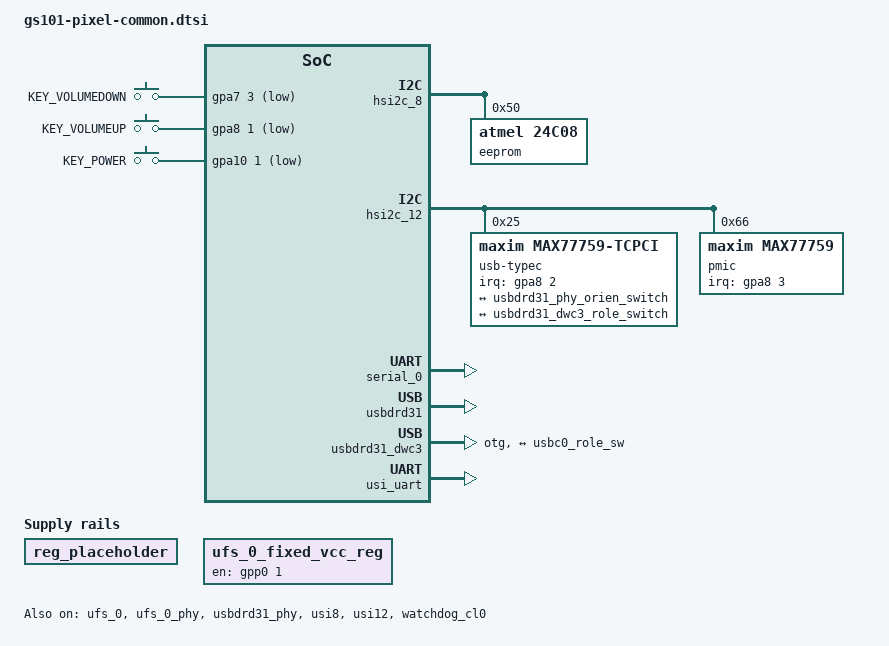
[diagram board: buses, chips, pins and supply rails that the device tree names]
// SPDX-License-Identifier: GPL-2.0-only
/*
 * Device Tree nodes common for all GS101-based Pixel
 *
 * Copyright 2021-2023 Google LLC
 * Copyright 2023 Linaro Ltd - <peter.griffin@linaro.org>
 */

/dts-v1/;

#include <dt-bindings/gpio/gpio.h>
#include <dt-bindings/input/input.h>
#include <dt-bindings/regulator/samsung,s2mpg10-regulator.h>
#include <dt-bindings/usb/pd.h>
#include "gs101-pinctrl.h"
#include "gs101.dtsi"

/ {
	aliases {
		serial0 = &serial_0;
	};

	chosen {
		/* Bootloader expects bootargs specified otherwise it crashes */
		bootargs = "";
		stdout-path = &serial_0;

		/* Use display framebuffer as setup by bootloader */
		framebuffer0: framebuffer-0 {
			compatible = "simple-framebuffer";
			memory-region = <&cont_splash_mem>;
			vci-supply = <&s2mpg10_ldo22m>;
			vddi-supply = <&s2mpg11_bucka>;
			/* format properties to be added by actual board */
			status = "disabled";
		};
	};

	gpio-keys {
		compatible = "gpio-keys";
		pinctrl-0 = <&key_voldown>, <&key_volup>, <&key_power>;
		pinctrl-names = "default";

		button-vol-down {
			label = "KEY_VOLUMEDOWN";
			linux,code = <KEY_VOLUMEDOWN>;
			gpios = <&gpa7 3 GPIO_ACTIVE_LOW>;
			wakeup-source;
		};

		button-vol-up {
			label = "KEY_VOLUMEUP";
			linux,code = <KEY_VOLUMEUP>;
			gpios = <&gpa8 1 GPIO_ACTIVE_LOW>;
			wakeup-source;
		};

		button-power {
			label = "KEY_POWER";
			linux,code = <KEY_POWER>;
			gpios = <&gpa10 1 GPIO_ACTIVE_LOW>;
			wakeup-source;
		};
	};

	reboot-mode {
		compatible = "nvmem-reboot-mode";
		nvmem-cells = <&nvmem_reboot_mode>;
		nvmem-cell-names = "reboot-mode";
		mode-bootloader = <0x800000fc>;
		mode-charge = <0x8000000a>;
		mode-dm-verity-device-corrupted = <0x80000050>;
		mode-fastboot = <0x800000fa>;
		mode-reboot-ab-update = <0x80000052>;
		mode-recovery = <0x800000ff>;
		mode-rescue = <0x800000f9>;
		mode-shutdown-thermal = <0x80000051>;
		mode-shutdown-thermal-battery = <0x80000051>;
	};

	/* TODO: Remove this once PMIC is implemented  */
	reg_placeholder: regulator-0 {
		compatible = "regulator-fixed";
		regulator-name = "placeholder_reg";
	};

	/* TODO: Remove this once S2MPG11 slave PMIC is implemented  */
	ufs_0_fixed_vcc_reg: regulator-1 {
		compatible = "regulator-fixed";
		regulator-name = "ufs-vcc";
		gpio = <&gpp0 1 GPIO_ACTIVE_HIGH>;
		regulator-boot-on;
		enable-active-high;
	};

	reserved-memory {
		cont_splash_mem: splash@fac00000 {
			/* size to be updated by actual board */
			reg = <0x0 0xfac00000 0x0>;
			no-map;
			status = "disabled";
		};
	};
};

&acpm_ipc {
	pmic-1 {
		compatible = "samsung,s2mpg10-pmic";
		interrupts-extended = <&gpa0 6 IRQ_TYPE_LEVEL_LOW>;
		pinctrl-names = "default";
		pinctrl-0 = <&pmic_int>;
		system-power-controller;
		wakeup-source;

		vinl1m-supply = <&s2mpg11_buck3s>;
		vinl2m-supply = <&s2mpg11_buck3s>;
		vinl3m-supply = <&s2mpg10_buck8m>;
		vinl4m-supply = <&s2mpg10_buck9m>;
		vinl5m-supply = <&s2mpg10_buck9m>;
		vinl6m-supply = <&s2mpg10_buck9m>;
		vinl7m-supply = <&s2mpg11_buck6s>;
		vinl8m-supply = <&s2mpg11_buck6s>;
		vinl9m-supply = <&s2mpg11_buck7s>;
		vinl10m-supply = <&s2mpg11_buck7s>;
		vinl11m-supply = <&s2mpg11_buck7s>;
		vinl12m-supply = <&s2mpg11_bucka>;
		vinl13m-supply = <&s2mpg11_bucka>;
		vinl14m-supply = <&s2mpg11_buckboost>;
		vinl15m-supply = <&s2mpg11_buckboost>;

		clocks {
			compatible = "samsung,s2mpg10-clk";
			#clock-cells = <1>;
			clock-output-names = "rtc32k_ap", "peri32k1",
					     "peri32k2";
		};

		regulators {
			buck1m {
				regulator-name = "vdd_mif";
				regulator-min-microvolt = <450000>;
				regulator-max-microvolt = <1300000>;
				regulator-ramp-delay = <6250>;
				regulator-always-on;
				samsung,ext-control = <S2MPG10_EXTCTRL_PWREN_MIF>;
			};

			buck2m {
				regulator-name = "vdd_cpucl2";
				regulator-min-microvolt = <450000>;
				regulator-max-microvolt = <1300000>;
				regulator-ramp-delay = <12500>;
				regulator-always-on;
				samsung,ext-control = <S2MPG10_EXTCTRL_CPUCL2_EN2>;
			};

			buck3m {
				regulator-name = "vdd_cpucl1";
				regulator-min-microvolt = <450000>;
				regulator-max-microvolt = <1300000>;
				regulator-ramp-delay = <12500>;
				regulator-always-on;
				samsung,ext-control = <S2MPG10_EXTCTRL_CPUCL1_EN2>;
			};

			buck4m {
				regulator-name = "vdd_cpucl0";
				regulator-min-microvolt = <450000>;
				regulator-max-microvolt = <1300000>;
				regulator-ramp-delay = <12500>;
				regulator-always-on;
				samsung,ext-control = <S2MPG10_EXTCTRL_PWREN>;
			};

			buck5m {
				regulator-name = "vdd_int";
				regulator-min-microvolt = <450000>;
				regulator-max-microvolt = <1300000>;
				regulator-ramp-delay = <12500>;
				regulator-always-on;
				samsung,ext-control = <S2MPG10_EXTCTRL_PWREN_MIF>;
			};

			buck6m {
				regulator-name = "vdd_cpucl2_m";
				regulator-min-microvolt = <450000>;
				regulator-max-microvolt = <1350000>;
				regulator-ramp-delay = <12500>;
				regulator-always-on;
				samsung,ext-control = <S2MPG10_EXTCTRL_CPUCL2_EN2>;
			};

			buck7m {
				/* GPU */
				regulator-name = "vdd_int_m";
				regulator-min-microvolt = <450000>;
				regulator-max-microvolt = <1300000>;
				regulator-ramp-delay = <6250>;
				regulator-always-on;
				samsung,ext-control = <S2MPG10_EXTCTRL_PWREN_MIF>;
			};

			s2mpg10_buck8m: buck8m {
				regulator-name = "lldo2";
				regulator-min-microvolt = <450000>;
				regulator-max-microvolt = <1300000>;
				regulator-ramp-delay = <6250>;
			};

			s2mpg10_buck9m: buck9m {
				regulator-name = "lldo3";
				regulator-min-microvolt = <450000>;
				regulator-max-microvolt = <1300000>;
				regulator-ramp-delay = <6250>;
			};

			buck10m {
				regulator-name = "vdd_tpu";
				regulator-min-microvolt = <450000>;
				regulator-max-microvolt = <1300000>;
				regulator-ramp-delay = <12500>;
				regulator-always-on;
				samsung,ext-control = <S2MPG10_EXTCTRL_TPU_EN>;
			};

			ldo1m {
				/* ALIVE, AOC PLL */
				regulator-name = "vdd_l1m_alive";
				regulator-min-microvolt = <700000>;
				regulator-max-microvolt = <1300000>;
				regulator-ramp-delay = <6250>;
				regulator-always-on;
			};

			ldo2m {
				/* lots, DDR */
				regulator-name = "vdd_l2m_alive";
				regulator-min-microvolt = <1600000>;
				regulator-max-microvolt = <1950000>;
				regulator-always-on;
			};

			ldo3m {
				/* AVDD: MIPI CSI & DSI, PLL: CPUCL SHARED TPU UFS */
				regulator-name = "ldo3m";
				regulator-min-microvolt = <725000>;
				regulator-max-microvolt = <1300000>;
				regulator-always-on;
				samsung,ext-control = <S2MPG10_EXTCTRL_PWREN_MIF>;
			};

			ldo4m {
				/* AVDD: MIPI CSI & DSI, UFS, OTP, TS_SUB, TS_TOP, XOTP */
				regulator-name = "ldo4m";
				regulator-min-microvolt = <1600000>;
				regulator-max-microvolt = <1950000>;
				regulator-always-on;
				samsung,ext-control = <S2MPG10_EXTCTRL_PWREN_MIF>;
			};

			ldo5m {
				/* VDD: ADD, AVDD: TCXO & TCXO_FAR */
				regulator-name = "avdd075_tcxo";
				regulator-min-microvolt = <725000>;
				regulator-max-microvolt = <1300000>;
				regulator-always-on;
				samsung,ext-control = <S2MPG10_EXTCTRL_TCXO_ON>;
			};

			ldo6m {
				/* PLL CPUCL & MIFx, UFS clk, MIPI DSI */
				regulator-name = "vdd_pll";
				regulator-min-microvolt = <725000>;
				regulator-max-microvolt = <1300000>;
				regulator-always-on;
				samsung,ext-control = <S2MPG10_EXTCTRL_PWREN_MIF>;
			};

			ldo7m {
				/* IO (HSI (USB)) */
				regulator-name = "vdd_hsi";
				regulator-min-microvolt = <450000>;
				regulator-max-microvolt = <950000>;
				regulator-ramp-delay = <6250>;
				/*
				 * TODO: link to HSI power domain, without this,
				 * Linux hangs during USB access.
				 */
				regulator-always-on;
			};

			ldo8m {
				regulator-name = "vdd085_usb";
				regulator-min-microvolt = <725000>;
				regulator-max-microvolt = <1300000>;
				regulator-always-on;
			};

			ldo9m {
				regulator-name = "vdd18_usb";
				regulator-min-microvolt = <1600000>;
				regulator-max-microvolt = <1950000>;
				regulator-always-on;
			};

			ldo10m {
				regulator-name = "vdd33_usb";
				regulator-min-microvolt = <1800000>;
				regulator-max-microvolt = <3350000>;
				regulator-always-on;
			};

			ldo11m {
				regulator-name = "vdd_cpucl1_m";
				regulator-min-microvolt = <700000>;
				regulator-max-microvolt = <1300000>;
				regulator-ramp-delay = <6250>;
				regulator-always-on;
				samsung,ext-control = <S2MPG10_EXTCTRL_CPUCL1_EN2>;
			};

			ldo12m {
				regulator-name = "vdd_cpucl0_m";
				regulator-min-microvolt = <700000>;
				regulator-max-microvolt = <1300000>;
				regulator-ramp-delay = <6250>;
				regulator-always-on;
				samsung,ext-control = <S2MPG10_EXTCTRL_PWREN>;
			};

			ldo13m {
				regulator-name = "vdd_tpu_m";
				regulator-min-microvolt = <450000>;
				regulator-max-microvolt = <950000>;
				regulator-ramp-delay = <12500>;
				regulator-always-on;
				samsung,ext-control = <S2MPG10_EXTCTRL_TPU_EN>;
			};

			/* ldo14m is board specific */

			ldo15m {
				regulator-name = "vdd_slc_m";
				regulator-min-microvolt = <450000>;
				regulator-max-microvolt = <950000>;
				regulator-ramp-delay = <12500>;
				regulator-always-on;
			};

			ldo16m {
				regulator-name = "vdd085_pcie0";
				regulator-min-microvolt = <725000>;
				regulator-max-microvolt = <1300000>;
			};

			ldo17m {
				regulator-name = "vdd085_pcie1";
				regulator-min-microvolt = <725000>;
				regulator-max-microvolt = <1300000>;
			};

			ldo18m {
				regulator-name = "vdd18_pcie0";
				regulator-min-microvolt = <1600000>;
				regulator-max-microvolt = <1950000>;
			};

			ldo19m {
				regulator-name = "vdd18_pcie1";
				regulator-min-microvolt = <1600000>;
				regulator-max-microvolt = <1950000>;
			};

			ldo20m {
				/* DMIC, memory power */
				regulator-name = "vddq_aoc_pdm";
				regulator-min-microvolt = <1600000>;
				regulator-max-microvolt = <1950000>;
				regulator-always-on;
				samsung,ext-control = <S2MPG10_EXTCTRL_LDO20M_EN2>;
			};

			ldo21m {
				/* Dauntless  */
				regulator-name = "vdd_dtls";
				regulator-min-microvolt = <2500000>;
				regulator-max-microvolt = <3300000>;
				regulator-always-on;
			};

			s2mpg10_ldo22m: ldo22m {
				/* display */
				regulator-name = "vci_disp";
				regulator-min-microvolt = <3025000>;
				regulator-max-microvolt = <3025000>;
			};

			/* ldo23m & ldo24m are unused */

			ldo25m {
				/* touch */
				regulator-name = "dvdd_tsp";
				regulator-min-microvolt = <1600000>;
				regulator-max-microvolt = <1950000>;
			};

			ldo26m {
				/* touch */
				regulator-name = "avdd_ts";
				regulator-min-microvolt = <2500000>;
				regulator-max-microvolt = <3300000>;
			};

			ldo27m {
				/* under-display fingerprint scanner */
				regulator-name = "avdd_udfps";
				regulator-min-microvolt = <2500000>;
				regulator-max-microvolt = <3300000>;
			};

			/*
			 *ldo28m .. ldo30m are unused, ldo31m is board specific
			 */
		};
	};

	pmic-2 {
		compatible = "samsung,s2mpg11-pmic";
		interrupts-extended = <&gpa0 7 IRQ_TYPE_LEVEL_LOW>;
		pinctrl-names = "default";
		pinctrl-0 = <&sub_pmic_int>;
		wakeup-source;

		vinl1s-supply = <&s2mpg10_buck8m>;
		vinl2s-supply = <&s2mpg11_buck6s>;
		vinl3s-supply = <&s2mpg11_buck7s>;
		vinl4s-supply = <&s2mpg11_buck7s>;
		vinl5s-supply = <&s2mpg11_buckboost>;
		vinl6s-supply = <&s2mpg11_buckboost>;
		vinbd-supply = <&s2mpg11_buckboost>;

		regulators {
			buck1s {
				/* multimedia */
				regulator-name = "vdd_cam";
				regulator-min-microvolt = <450000>;
				regulator-max-microvolt = <1300000>;
				regulator-ramp-delay = <12500>;
				regulator-always-on;
				samsung,ext-control = <S2MPG11_EXTCTRL_PWREN_MIF>;
			};

			buck2s {
				regulator-name = "vdd_g3d";
				regulator-min-microvolt = <450000>;
				regulator-max-microvolt = <1300000>;
				regulator-ramp-delay = <12500>;
				regulator-always-on;
				samsung,ext-control = <S2MPG11_EXTCTRL_G3D_EN>;
			};

			s2mpg11_buck3s: buck3s {
				regulator-name = "lldo1";
				regulator-min-microvolt = <450000>;
				regulator-max-microvolt = <1300000>;
				regulator-ramp-delay = <6250>;
			};

			buck4s {
				/* DDR */
				regulator-name = "vdd2h_mem";
				regulator-min-microvolt = <450000>;
				regulator-max-microvolt = <1300000>;
				regulator-ramp-delay = <6250>;
				regulator-always-on;
			};

			buck5s {
				/* DDR */
				regulator-name = "vddq_mem";
				regulator-min-microvolt = <400000>;
				regulator-max-microvolt = <1300000>;
				regulator-ramp-delay = <6250>;
				regulator-always-on;
				samsung,ext-control = <S2MPG11_EXTCTRL_PWREN_MIF>;
			};

			s2mpg11_buck6s: buck6s {
				regulator-name = "lldo4";
				regulator-min-microvolt = <1000000>;
				regulator-max-microvolt = <1500000>;
				regulator-ramp-delay = <6250>;
			};

			s2mpg11_buck7s: buck7s {
				regulator-name = "mldo";
				regulator-min-microvolt = <1500000>;
				regulator-max-microvolt = <2200000>;
				regulator-ramp-delay = <6250>;
			};

			buck8s {
				regulator-name = "vdd_g3d_l2";
				regulator-min-microvolt = <450000>;
				regulator-max-microvolt = <1300000>;
				regulator-ramp-delay = <12500>;
				regulator-always-on;
				samsung,ext-control = <S2MPG11_EXTCTRL_G3D_EN>;
			};

			buck9s {
				regulator-name = "vdd_aoc";
				regulator-min-microvolt = <450000>;
				regulator-max-microvolt = <1300000>;
				regulator-ramp-delay = <12500>;
				regulator-always-on;
			};

			buck10s {
				/* DDR */
				regulator-name = "vdd2l_mem";
				regulator-min-microvolt = <450000>;
				regulator-max-microvolt = <1300000>;
				regulator-ramp-delay = <6250>;
				regulator-always-on;
			};

			buckd {
				regulator-name = "vcc_ufs";
				regulator-min-microvolt = <2400000>;
				regulator-max-microvolt = <3300000>;
				regulator-ramp-delay = <6250>;
				regulator-always-on;
				samsung,ext-control = <S2MPG11_EXTCTRL_UFS_EN>;
			};

			s2mpg11_bucka: bucka {
				/* lots, IO */
				regulator-name = "bucka";
				regulator-min-microvolt = <1700000>;
				regulator-max-microvolt = <2100000>;
				regulator-ramp-delay = <6250>;
				regulator-always-on;
			};

			s2mpg11_buckboost: buckboost {
				regulator-name = "buckboost";
				regulator-min-microvolt = <3000000>;
				regulator-max-microvolt = <3600000>;
			};

			ldo1s {
				regulator-name = "vdd_g3d_m";
				regulator-min-microvolt = <450000>;
				regulator-max-microvolt = <950000>;
				regulator-ramp-delay = <6250>;
				regulator-always-on;
				samsung,ext-control = <S2MPG11_EXTCTRL_G3D_EN>;
			};

			ldo2s {
				regulator-name = "vdd_aoc_ret";
				regulator-min-microvolt = <450000>;
				regulator-max-microvolt = <950000>;
				regulator-ramp-delay = <12500>;
				regulator-always-on;
			};

			/* ldo3s & ldo5s are unused, ldo4s is board specific */

			ldo6s {
				/* sensors */
				regulator-name = "vdd_prox";
				regulator-min-microvolt = <2500000>;
				regulator-max-microvolt = <3300000>;
			};

			ldo7s {
				/* sensors */
				regulator-name = "vdd_sensors";
				regulator-min-microvolt = <1600000>;
				regulator-max-microvolt = <1950000>;
			};

			ldo8s {
				regulator-name = "vccq_ufs";
				regulator-min-microvolt = <1130400>;
				regulator-max-microvolt = <1281200>;
				regulator-always-on;
				samsung,ext-control = <S2MPG11_EXTCTRL_UFS_EN>;
			};

			ldo9s {
				regulator-name = "vdd_gnss";
				regulator-min-microvolt = <725000>;
				regulator-max-microvolt = <1300000>;
			};

			ldo10s {
				regulator-name = "vdd_gnss_rf";
				regulator-min-microvolt = <1600000>;
				regulator-max-microvolt = <1950000>;
			};

			ldo11s {
				regulator-name = "vdd_gnss_aux";
				regulator-min-microvolt = <1600000>;
				regulator-max-microvolt = <1950000>;
			};

			/* ldo12s is unused */

			ldo13s {
				regulator-name = "vddq_mmc";
				regulator-min-microvolt = <1800000>;
				regulator-max-microvolt = <3350000>;
				regulator-always-on;
				samsung,ext-control = <S2MPG11_EXTCTRL_LDO13S_EN>;
			};

			/* ldo14s is board specific, ldo15s is unused */
		};
	};
};

&ext_24_5m {
	clock-frequency = <24576000>;
};

&ext_200m {
	clock-frequency = <200000000>;
};

&hsi2c_8 {
	status = "okay";

	eeprom: eeprom@50 {
		compatible = "atmel,24c08";
		reg = <0x50>;
	};
};

&hsi2c_12 {
	status = "okay";
	/* TODO: add the devices once drivers exist */

	usb-typec@25 {
		compatible = "maxim,max77759-tcpci", "maxim,max33359";
		reg = <0x25>;
		interrupts-extended = <&gpa8 2 IRQ_TYPE_LEVEL_LOW>;
		pinctrl-0 = <&typec_int>;
		pinctrl-names = "default";

		connector {
			compatible = "usb-c-connector";
			label = "USB-C";
			data-role = "dual";
			power-role = "dual";
			self-powered;
			try-power-role = "sink";
			op-sink-microwatt = <2600000>;
			slow-charger-loop;
			/*
			 * max77759 operating in reverse boost mode (0xA) can
			 * source up to 1.5A while extboost can only do ~1A.
			 * Since extboost is the primary path, advertise 900mA.
			 */
			source-pdos = <PDO_FIXED(5000, 900,
						 (PDO_FIXED_SUSPEND
						  | PDO_FIXED_USB_COMM
						  | PDO_FIXED_DATA_SWAP
						  | PDO_FIXED_DUAL_ROLE))>;
			sink-pdos = <PDO_FIXED(5000, 3000,
					       (PDO_FIXED_DATA_SWAP
						| PDO_FIXED_USB_COMM
						| PDO_FIXED_HIGHER_CAP
						| PDO_FIXED_DUAL_ROLE))
				     PDO_FIXED(9000, 2200, 0)
				     PDO_PPS_APDO(5000, 11000, 3000)>;
			sink-vdos = <VDO_IDH(1, 1, IDH_PTYPE_PERIPH, 0,
					     IDH_PTYPE_DFP_HOST, 2, 0x18d1)
				     VDO_CERT(0x0)
				     VDO_PRODUCT(0x4ee1, 0x0)
				     VDO_UFP(UFP_VDO_VER1_2,
					     (DEV_USB2_CAPABLE
					      | DEV_USB3_CAPABLE),
					     UFP_RECEPTACLE, 0,
					     AMA_VCONN_NOT_REQ, 0,
					     UFP_ALTMODE_NOT_SUPP,
					     UFP_USB32_GEN1)
				     /* padding */ 0
				     VDO_DFP(DFP_VDO_VER1_1,
					     (HOST_USB2_CAPABLE
					      | HOST_USB3_CAPABLE),
					     DFP_RECEPTACLE, 0)>;
			sink-vdos-v1 = <VDO_IDH(1, 1, IDH_PTYPE_PERIPH, 0,
						0, 0, 0x18d1)
					VDO_CERT(0x0)
					VDO_PRODUCT(0x4ee1, 0x0)>;
			/*
			 * Until bootloader is updated to set those two when
			 * console is enabled, we disable PD here.
			 */
			pd-disable;
			typec-power-opmode = "default";

			ports {
				#address-cells = <1>;
				#size-cells = <0>;

				port@0 {
					reg = <0>;

					usbc0_orien_sw: endpoint {
						remote-endpoint = <&usbdrd31_phy_orien_switch>;
					};
				};

				port@1 {
					reg = <1>;

					usbc0_role_sw: endpoint {
						remote-endpoint = <&usbdrd31_dwc3_role_switch>;
					};
				};
			};
		};
	};

	pmic@66 {
		compatible = "maxim,max77759";
		reg = <0x66>;

		pinctrl-0 = <&if_pmic_int>;
		pinctrl-names = "default";
		interrupts-extended = <&gpa8 3 IRQ_TYPE_LEVEL_LOW>;

		interrupt-controller;
		#interrupt-cells = <2>;

		gpio {
			compatible = "maxim,max77759-gpio";

			gpio-controller;
			#gpio-cells = <2>;
			/*
			 * "Human-readable name [SIGNAL_LABEL]" where the
			 * latter comes from the schematic
			 */
			gpio-line-names = "OTG boost [OTG_BOOST_EN]",
					  "max20339 IRQ [MW_OVP_INT_L]";

			interrupt-controller;
			#interrupt-cells = <2>;
		};

		nvmem-0 {
			compatible = "maxim,max77759-nvmem";

			nvmem-layout {
				compatible = "fixed-layout";
				#address-cells = <1>;
				#size-cells = <1>;

				nvmem_reboot_mode: reboot-mode@0 {
					reg = <0x0 0x4>;
				};

				boot-reason@4 {
					reg = <0x4 0x4>;
				};

				shutdown-user-flag@8 {
					reg = <0x8 0x1>;
				};

				rsoc@a {
					reg = <0xa 0x2>;
				};
			};
		};
	};
};

&pinctrl_far_alive {
	key_voldown: key-voldown-pins {
		samsung,pins = "gpa7-3";
		samsung,pin-function = <GS101_PIN_FUNC_EINT>;
		samsung,pin-pud = <GS101_PIN_PULL_NONE>;
		samsung,pin-drv = <GS101_PIN_DRV_2_5_MA>;
	};

	key_volup: key-volup-pins {
		samsung,pins = "gpa8-1";
		samsung,pin-function = <GS101_PIN_FUNC_EINT>;
		samsung,pin-pud = <GS101_PIN_PULL_NONE>;
		samsung,pin-drv = <GS101_PIN_DRV_2_5_MA>;
	};

	typec_int: typec-int-pins {
		samsung,pins = "gpa8-2";
		samsung,pin-function = <GS101_PIN_FUNC_EINT>;
		samsung,pin-pud = <GS101_PIN_PULL_UP>;
		samsung,pin-drv = <GS101_PIN_DRV_2_5_MA>;
	};

	if_pmic_int: if-pmic-int-pins {
		samsung,pins = "gpa8-3";
		samsung,pin-function = <GS101_PIN_FUNC_EINT>;
		samsung,pin-pud = <GS101_PIN_PULL_UP>;
		samsung,pin-drv = <GS101_PIN_DRV_2_5_MA>;
	};
};

&pinctrl_gpio_alive {
	pmic_int: pmic-int-pins {
		samsung,pins = "gpa0-6";
		samsung,pin-function = <GS101_PIN_FUNC_EINT>;
		samsung,pin-pud = <GS101_PIN_PULL_NONE>;
	};

	sub_pmic_int: sub-pmic-int-pins {
		samsung,pins = "gpa0-7";
		samsung,pin-function = <GS101_PIN_FUNC_EINT>;
		samsung,pin-pud = <GS101_PIN_PULL_NONE>;
	};

	key_power: key-power-pins {
		samsung,pins = "gpa10-1";
		samsung,pin-function = <GS101_PIN_FUNC_EINT>;
		samsung,pin-pud = <GS101_PIN_PULL_NONE>;
		samsung,pin-drv = <GS101_PIN_DRV_2_5_MA>;
	};
};

&serial_0 {
	status = "okay";
};

&ufs_0 {
	status = "okay";
	vcc-supply = <&ufs_0_fixed_vcc_reg>;
};

&ufs_0_phy {
	status = "okay";
};

&usbdrd31 {
	vdd10-supply = <&reg_placeholder>;
	vdd33-supply = <&reg_placeholder>;
	status = "okay";
};

&usbdrd31_dwc3 {
	dr_mode = "otg";
	usb-role-switch;
	role-switch-default-mode = "peripheral";
	maximum-speed = "super-speed-plus";
	status = "okay";

	port {
		usbdrd31_dwc3_role_switch: endpoint {
			remote-endpoint = <&usbc0_role_sw>;
		};
	};
};

&usbdrd31_phy {
	orientation-switch;
	/* TODO: Update these once PMIC is implemented */
	pll-supply = <&reg_placeholder>;
	dvdd-usb20-supply = <&reg_placeholder>;
	vddh-usb20-supply = <&reg_placeholder>;
	vdd33-usb20-supply = <&reg_placeholder>;
	vdda-usbdp-supply = <&reg_placeholder>;
	vddh-usbdp-supply = <&reg_placeholder>;
	status = "okay";

	port {
		usbdrd31_phy_orien_switch: endpoint {
			remote-endpoint = <&usbc0_orien_sw>;
		};
	};
};

&usi_uart {
	samsung,clkreq-on; /* needed for UART mode */
	status = "okay";
};

&usi8 {
	samsung,mode = <USI_MODE_I2C>;
	status = "okay";
};

&usi12 {
	samsung,mode = <USI_MODE_I2C>;
	status = "okay";
};

&watchdog_cl0 {
	timeout-sec = <30>;
	status = "okay";
};
